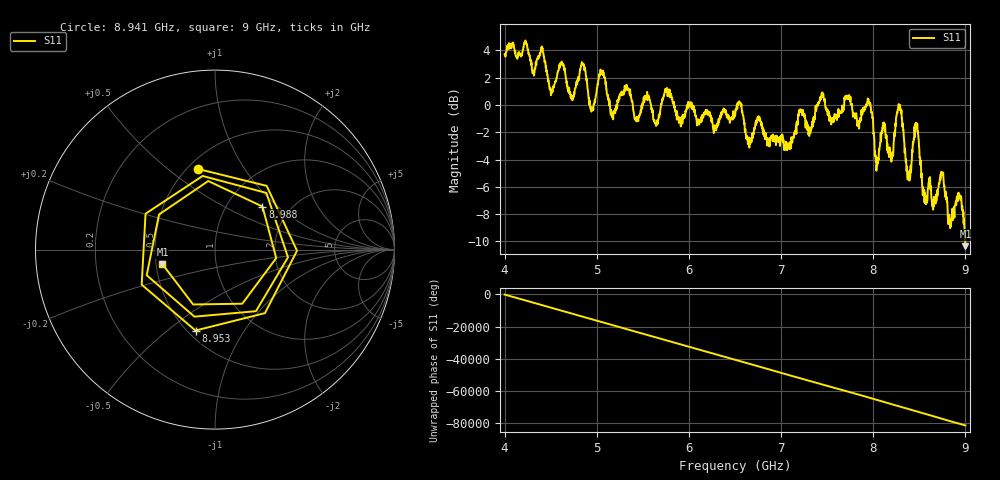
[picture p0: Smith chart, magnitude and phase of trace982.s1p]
! Created with skrf 1.8.0 (http://scikit-rf.org).
# Hz S RI R 50.0
!freq ReS11 ImS11
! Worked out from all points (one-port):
!   1601 points, 4 GHz to 9 GHz, reference 50 ohm
!   lowest |S11| = -10.3 dB at 9 GHz (marker M1), VSWR 1.87, Z = 27 - j4.83 ohm
!   |S11| at or under -10 dB: 8.998502 GHz to end of sweep
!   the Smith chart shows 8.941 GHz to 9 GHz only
!   S11 on the Smith chart (normalised r, x): 8.941 GHz: 0.56, +0.64; 8.953 GHz: 0.55, -0.63; 8.988 GHz: 1.46, +0.80; 9 GHz: 0.54, -0.10
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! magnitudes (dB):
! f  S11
! 4 GHz  3.7
! 4.406 GHz  4.2
! 4.509 GHz  1.1
! 4.625 GHz  3.0
! 4.734 GHz  0.3
! 4.853 GHz  3.0
! 4.944 GHz  -0.4
! 5.05 GHz  2.4
! 5.172 GHz  -0.8
! 5.25 GHz  0.8
! 5.875 GHz  -0.8
! 6.5 GHz  -0.8
! 7.125 GHz  -2.5
! 7.438 GHz  0.8
! 7.75 GHz  0.3
! 7.962 GHz  0.0
! 8.041 GHz  -4.5
! 8.106 GHz  -1.3
! 8.194 GHz  -3.7
! 8.288 GHz  -0.1
! 8.375 GHz  -5.5
! 8.469 GHz  -1.3
! 8.562 GHz  -6.4
! 8.838 GHz  -8.8
! 8.941 GHz  -6.8
! 8.953 GHz  -6.7
! 8.988 GHz  -8.9
! 9 GHz  -10.3
